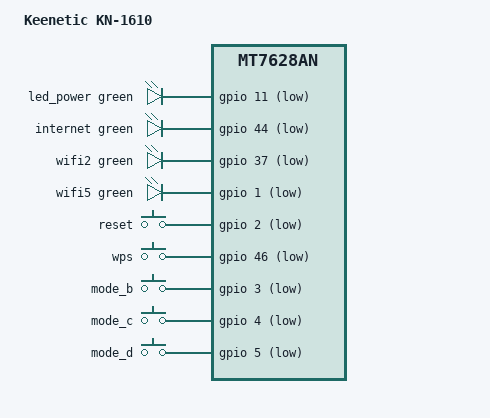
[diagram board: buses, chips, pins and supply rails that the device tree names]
// SPDX-License-Identifier: GPL-2.0-or-later OR MIT

#include "mt7628an_keenetic_kn-1510.dtsi"

/ {
	compatible = "keenetic,kn-1610", "mediatek,mt7628an-soc";
	model = "Keenetic KN-1610";

	leds {
		compatible = "gpio-leds";

		led_power: power {
			function = LED_FUNCTION_POWER;
			color = <LED_COLOR_ID_GREEN>;
			gpios = <&gpio 11 GPIO_ACTIVE_LOW>;
		};

		internet {
			function = LED_FUNCTION_WAN;
			color = <LED_COLOR_ID_GREEN>;
			gpios = <&gpio 44 GPIO_ACTIVE_LOW>;
		};

		wifi2 { // FN
			function = LED_FUNCTION_WLAN_2GHZ;
			color = <LED_COLOR_ID_GREEN>;
			gpios = <&gpio 37 GPIO_ACTIVE_LOW>;
			linux,default-trigger = "phy0tpt";
		};

		wifi5 {
			function = LED_FUNCTION_WLAN_5GHZ;
			color = <LED_COLOR_ID_GREEN>;
			gpios = <&gpio 1 GPIO_ACTIVE_LOW>;
			linux,default-trigger = "phy1tpt";
		};
	};

	keys {
		compatible = "gpio-keys";

		reset {
			label = "reset";
			gpios = <&gpio 2 GPIO_ACTIVE_LOW>;
			linux,code = <KEY_RESTART>;
		};

		wps {
			label = "wps";
			gpios = <&gpio 46 GPIO_ACTIVE_LOW>;
			linux,code = <KEY_WPS_BUTTON>;
		};

		/* A-B-C-D rotary mode switch, wired as three mutually-exclusive
		digital GPIO lines (one per non-default position); position A is
		the default/router mode, indicated by none of the three lines being active. */
		mode_b {
			label = "mode_b";
			gpios = <&gpio 3 GPIO_ACTIVE_LOW>;
			linux,code = <BTN_0>;
			linux,input-type = <EV_SW>;
		};

		mode_c {
			label = "mode_c";
			gpios = <&gpio 4 GPIO_ACTIVE_LOW>;
			linux,code = <BTN_1>;
			linux,input-type = <EV_SW>;
		};

		mode_d {
			label = "mode_d";
			gpios = <&gpio 5 GPIO_ACTIVE_LOW>;
			linux,code = <BTN_2>;
			linux,input-type = <EV_SW>;
		};
	};
};
